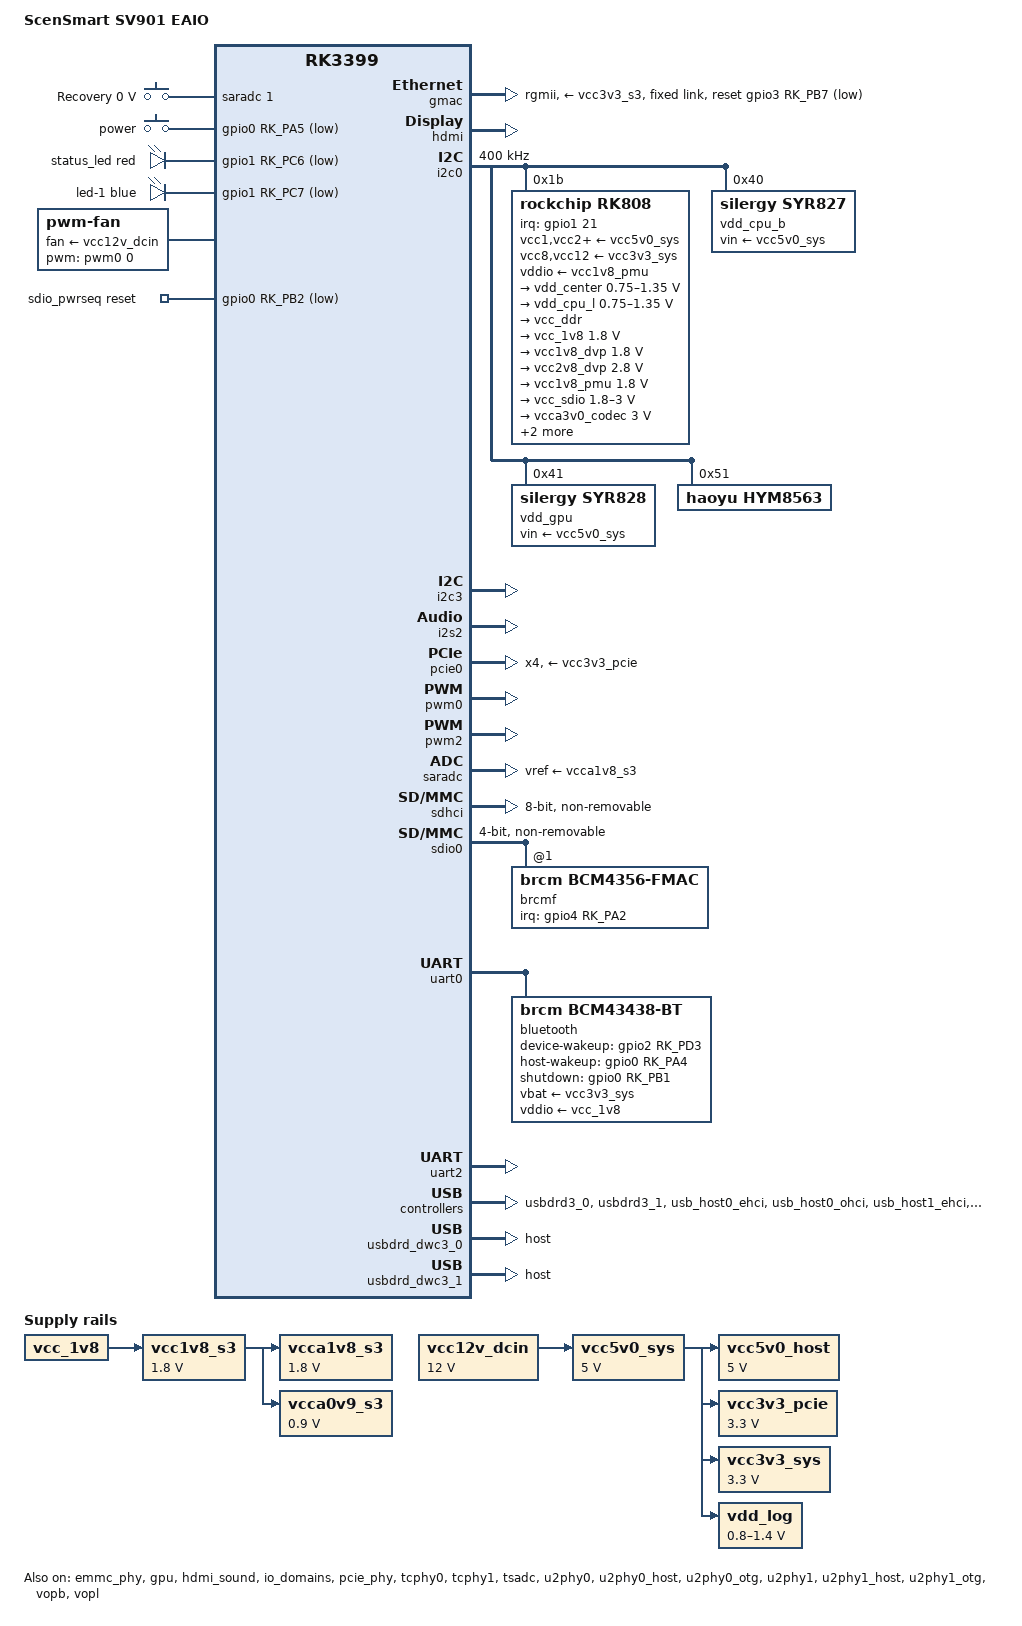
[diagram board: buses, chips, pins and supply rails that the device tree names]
// SPDX-License-Identifier: GPL-2.0-or-later OR MIT

/dts-v1/;
#include <dt-bindings/input/input.h>
#include <dt-bindings/leds/common.h>
#include "rk3399.dtsi"
#include "rk3399-opp.dtsi"

/ {
	model = "ScenSmart SV901 EAIO";
	compatible = "scensmart,sv901-eaio", "rockchip,rk3399";

	aliases {
		mmc0 = &sdhci;
		mmc1 = &sdio0;

		led-boot = &status_led;
		led-failsafe = &status_led;
		led-running = &status_led;
		led-upgrade = &status_led;
	};

	chosen {
		stdout-path = "serial2:1500000n8";
	};

	adc-keys {
		compatible = "adc-keys";
		io-channels = <&saradc 1>;
		io-channel-names = "buttons";
		keyup-threshold-microvolt = <1750000>;
		poll-interval = <100>;

		button-recovery {
			label = "Recovery";
			linux,code = <KEY_VENDOR>;
			press-threshold-microvolt = <0>;
		};
	};

	gpio-keys {
		compatible = "gpio-keys";
		pinctrl-names = "default";
		pinctrl-0 = <&power_button_pin>;

		button-power {
			label = "power";
			debounce-interval = <100>;
			gpios = <&gpio0 RK_PA5 GPIO_ACTIVE_LOW>;
			linux,code = <KEY_POWER>;
			wakeup-source;
		};
	};

	gpio-leds {
		compatible = "gpio-leds";
		pinctrl-names = "default";
		pinctrl-0 = <&status_led_pin>, <&custom_led_pin>;

		status_led: led-0 {
			color = <LED_COLOR_ID_RED>;
			function = LED_FUNCTION_STATUS;
			gpios = <&gpio1 RK_PC6 GPIO_ACTIVE_LOW>;
		};

		led-1 {
			color = <LED_COLOR_ID_BLUE>;
			function = LED_FUNCTION_PROGRAMMING;
			gpios = <&gpio1 RK_PC7 GPIO_ACTIVE_LOW>;
		};
	};

	fan: pwm-fan {
		compatible = "pwm-fan";
		#cooling-cells = <2>;
		cooling-levels = <0 95 145 195 255>;
		fan-supply = <&vcc12v_dcin>;
		pwms = <&pwm0 0 10000 0>;
		status = "okay";
	};

        rtl8367s {
                compatible = "realtek,rtl8367b";
                realtek,extif = <7 1 3 1 1 1 1 1 1 2>;
                mii-bus = <&mdio>;
                phy-id = <29>;
        };

	sdio_pwrseq: sdio-pwrseq {
		compatible = "mmc-pwrseq-simple";
		clocks = <&rk808 1>;
		clock-names = "ext_clock";
		pinctrl-names = "default";
		pinctrl-0 = <&wifi_reg_on_h>;
		reset-gpios = <&gpio0 RK_PB2 GPIO_ACTIVE_LOW>;
		post-power-on-delay-ms = <300>;
	};

	vcc12v_dcin: regulator-vcc12v-dcin {
		compatible = "regulator-fixed";
		regulator-name = "vcc12v-dcin";
		regulator-always-on;
		regulator-boot-on;
		regulator-min-microvolt = <12000000>;
		regulator-max-microvolt = <12000000>;
	};

	vcc5v0_sys: regulator-vcc5v0-sys {
		compatible = "regulator-fixed";
		regulator-always-on;
		regulator-boot-on;
		regulator-min-microvolt = <5000000>;
		regulator-max-microvolt = <5000000>;
		regulator-name = "vcc5v0_sys";
		vin-supply = <&vcc12v_dcin>;
	};

	vcc5v0_host: regulator-vcc5v0-host {
		compatible = "regulator-fixed";
		regulator-name = "vcc5v0_host";
		regulator-always-on;
		regulator-boot-on;
		regulator-min-microvolt = <5000000>;
		regulator-max-microvolt = <5000000>;
		vin-supply = <&vcc5v0_sys>;
	};

	vcc3v3_pcie: regulator-vcc3v3-pcie {
		compatible = "regulator-fixed";
		regulator-name = "vcc3v3_pcie";
		regulator-always-on;
		regulator-boot-on;
		regulator-min-microvolt = <3300000>;
		regulator-max-microvolt = <3300000>;
		vin-supply = <&vcc5v0_sys>;
	};

	vcc3v3_sys: regulator-vcc3v3-sys {
		compatible = "regulator-fixed";
		regulator-always-on;
		regulator-boot-on;
		regulator-min-microvolt = <3300000>;
		regulator-max-microvolt = <3300000>;
		regulator-name = "vcc3v3_sys";
		vin-supply = <&vcc5v0_sys>;
	};

	vcc1v8_s3: regulator-vcc1v8-s3 {
		compatible = "regulator-fixed";
		regulator-always-on;
		regulator-boot-on;
		regulator-min-microvolt = <1800000>;
		regulator-max-microvolt = <1800000>;
		regulator-name = "vcc1v8_s3";
		vin-supply = <&vcc_1v8>;
	};

	vcca1v8_s3: regulator-vcca1v8-s3 {
		compatible = "regulator-fixed";
		regulator-min-microvolt = <1800000>;
		regulator-max-microvolt = <1800000>;
		regulator-name = "vcca1v8_s3";
		vin-supply = <&vcc1v8_s3>;
	};

	vcca0v9_s3: regulator-vcca0v9-s3 {
		compatible = "regulator-fixed";
		regulator-min-microvolt = <900000>;
		regulator-max-microvolt = <900000>;
		regulator-name = "vcca0v9_s3";
		vin-supply = <&vcc1v8_s3>;
	};

	vdd_log: regulator-vdd-log {
		compatible = "pwm-regulator";
		pwms = <&pwm2 0 25000 1>;
		regulator-name = "vdd_log";
		regulator-always-on;
		regulator-boot-on;
		regulator-min-microvolt = <800000>;
		regulator-max-microvolt = <1400000>;
		vin-supply = <&vcc5v0_sys>;
	};
};

&cpu_thermal {
	trips {
		cpu_trip_active_low: cpu-trip-active-low {
			temperature = <50000>;
			hysteresis = <2000>;
			type = "active";
		};

		cpu_trip_active_med: cpu-trip-active-med {
			temperature = <60000>;
			hysteresis = <2000>;
			type = "active";
		};

		cpu_trip_active_high: cpu-trip-active-high {
			temperature = <70000>;
			hysteresis = <2000>;
			type = "active";
		};

		cpu_trip_active_hot: cpu-trip-active-hot {
			temperature = <75000>;
			hysteresis = <2000>;
			type = "hot";
		};
	};

	cooling-maps {
		cpu-active-low {
			trip = <&cpu_trip_active_low>;
			cooling-device = <&fan THERMAL_NO_LIMIT 1>;
		};

		cpu-active-med {
			trip = <&cpu_trip_active_med>;
			cooling-device = <&fan 1 2>;
		};

		cpu-active-high {
			trip = <&cpu_trip_active_high>;
			cooling-device = <&fan 2 3>;
		};

		cpu-active-hot {
			trip = <&cpu_trip_active_hot>;
			cooling-device = <&fan 3 THERMAL_NO_LIMIT>;
		};
	};
};

&cpu_b0 {
	cpu-supply = <&vdd_cpu_b>;
};

&cpu_b1 {
	cpu-supply = <&vdd_cpu_b>;
};

&cpu_l0 {
	cpu-supply = <&vdd_cpu_l>;
};

&cpu_l1 {
	cpu-supply = <&vdd_cpu_l>;
};

&cpu_l2 {
	cpu-supply = <&vdd_cpu_l>;
};

&cpu_l3 {
	cpu-supply = <&vdd_cpu_l>;
};

&emmc_phy {
	status = "okay";
};

&gmac {
	assigned-clocks = <&cru SCLK_RMII_SRC>;
	assigned-clock-parents = <&cru SCLK_MAC>;
	assigned-clock-rates = <125000000>;
	clock_in_out = "output";
	phy-mode = "rgmii";
	phy-supply = <&vcc3v3_s3>;
	pinctrl-names = "default";
	pinctrl-0 = <&rgmii_pins>;
	snps,reset-gpio = <&gpio3 RK_PB7 GPIO_ACTIVE_LOW>;
	snps,reset-active-low;
	snps,reset-delays-us = <0 15000 50000>;
	tx_delay = <0x28>;
	rx_delay = <0x11>;
	status = "okay";

	mdio: mdio {
		compatible = "snps,dwmac-mdio";
		#address-cells = <1>;
		#size-cells = <0>;
	};

	fixed-link {
		speed = <1000>;
		full-duplex;
	};
};

&gpu {
	mali-supply = <&vdd_gpu>;
	status = "okay";
};

&hdmi {
	avdd-0v9-supply = <&vcca0v9_s3>;
	avdd-1v8-supply = <&vcca1v8_s3>;
	ddc-i2c-bus = <&i2c3>;
	pinctrl-names = "default";
	pinctrl-0 = <&hdmi_cec>;
	status = "okay";
};

&hdmi_sound {
	status = "okay";
};

&i2c0 {
	clock-frequency = <400000>;
	i2c-scl-rising-time-ns = <168>;
	i2c-scl-falling-time-ns = <4>;
	status = "okay";

	rk808: pmic@1b {
		compatible = "rockchip,rk808";
		reg = <0x1b>;
		#clock-cells = <1>;
		clock-output-names = "xin32k", "rk808-clkout2";
		interrupt-parent = <&gpio1>;
		interrupts = <21 IRQ_TYPE_LEVEL_LOW>;
		pinctrl-names = "default";
		pinctrl-0 = <&pmic_int_l>;
		system-power-controller;
		wakeup-source;

		vcc1-supply = <&vcc5v0_sys>;
		vcc2-supply = <&vcc5v0_sys>;
		vcc3-supply = <&vcc5v0_sys>;
		vcc4-supply = <&vcc5v0_sys>;
		vcc6-supply = <&vcc5v0_sys>;
		vcc7-supply = <&vcc5v0_sys>;
		vcc8-supply = <&vcc3v3_sys>;
		vcc9-supply = <&vcc5v0_sys>;
		vcc10-supply = <&vcc5v0_sys>;
		vcc11-supply = <&vcc5v0_sys>;
		vcc12-supply = <&vcc3v3_sys>;
		vddio-supply = <&vcc1v8_pmu>;

		regulators {
			vdd_center: DCDC_REG1 {
				regulator-always-on;
				regulator-boot-on;
				regulator-min-microvolt = <750000>;
				regulator-max-microvolt = <1350000>;
				regulator-name = "vdd_center";
				regulator-ramp-delay = <6001>;

				regulator-state-mem {
					regulator-off-in-suspend;
				};
			};

			vdd_cpu_l: DCDC_REG2 {
				regulator-always-on;
				regulator-boot-on;
				regulator-min-microvolt = <750000>;
				regulator-max-microvolt = <1350000>;
				regulator-name = "vdd_cpu_l";
				regulator-ramp-delay = <6001>;

				regulator-state-mem {
					regulator-off-in-suspend;
				};
			};

			vcc_ddr: DCDC_REG3 {
				regulator-always-on;
				regulator-boot-on;
				regulator-name = "vcc_ddr";

				regulator-state-mem {
					regulator-on-in-suspend;
				};
			};

			vcc_1v8: DCDC_REG4 {
				regulator-always-on;
				regulator-boot-on;
				regulator-min-microvolt = <1800000>;
				regulator-max-microvolt = <1800000>;
				regulator-name = "vcc_1v8";

				regulator-state-mem {
					regulator-on-in-suspend;
					regulator-suspend-microvolt = <1800000>;
				};
			};

			vcc1v8_dvp: LDO_REG1 {
				regulator-always-on;
				regulator-boot-on;
				regulator-min-microvolt = <1800000>;
				regulator-max-microvolt = <1800000>;
				regulator-name = "vcc1v8_dvp";

				regulator-state-mem {
					regulator-off-in-suspend;
				};
			};

			vcc2v8_dvp: LDO_REG2 {
				regulator-always-on;
				regulator-boot-on;
				regulator-min-microvolt = <2800000>;
				regulator-max-microvolt = <2800000>;
				regulator-name = "vcc2v8_dvp";

				regulator-state-mem {
					regulator-off-in-suspend;
				};
			};

			vcc1v8_pmu: LDO_REG3 {
				regulator-always-on;
				regulator-boot-on;
				regulator-min-microvolt = <1800000>;
				regulator-max-microvolt = <1800000>;
				regulator-name = "vcc1v8_pmu";

				regulator-state-mem {
					regulator-on-in-suspend;
					regulator-suspend-microvolt = <1800000>;
				};
			};

			vcc_sdio: LDO_REG4 {
				regulator-always-on;
				regulator-boot-on;
				regulator-min-microvolt = <1800000>;
				regulator-max-microvolt = <3000000>;
				regulator-name = "vcc_sdio";

				regulator-state-mem {
					regulator-on-in-suspend;
					regulator-suspend-microvolt = <3000000>;
				};
			};

			vcca3v0_codec: LDO_REG5 {
				regulator-always-on;
				regulator-boot-on;
				regulator-min-microvolt = <3000000>;
				regulator-max-microvolt = <3000000>;
				regulator-name = "vcca3v0_codec";

				regulator-state-mem {
					regulator-off-in-suspend;
				};
			};

			vcc_1v5: LDO_REG6 {
				regulator-always-on;
				regulator-boot-on;
				regulator-min-microvolt = <1500000>;
				regulator-max-microvolt = <1500000>;
				regulator-name = "vcc_1v5";

				regulator-state-mem {
					regulator-on-in-suspend;
					regulator-suspend-microvolt = <1500000>;
				};
			};

			vcca1v8_codec: LDO_REG7 {
				regulator-always-on;
				regulator-boot-on;
				regulator-min-microvolt = <1800000>;
				regulator-max-microvolt = <1800000>;
				regulator-name = "vcca1v8_codec";

				regulator-state-mem {
					regulator-off-in-suspend;
				};
			};

			vcc_3v0: LDO_REG8 {
				regulator-always-on;
				regulator-boot-on;
				regulator-min-microvolt = <3000000>;
				regulator-max-microvolt = <3000000>;
				regulator-name = "vcc_3v0";

				regulator-state-mem {
					regulator-on-in-suspend;
					regulator-suspend-microvolt = <3000000>;
				};
			};

			vcc3v3_s3: SWITCH_REG1 {
				regulator-always-on;
				regulator-boot-on;
				regulator-name = "vcc3v3_s3";

				regulator-state-mem {
					regulator-off-in-suspend;
				};
			};

			vcc3v3_s0: SWITCH_REG2 {
				regulator-always-on;
				regulator-boot-on;
				regulator-name = "vcc3v3_s0";

				regulator-state-mem {
					regulator-off-in-suspend;
				};
			};
		};
	};

	vdd_cpu_b: regulator@40 {
		compatible = "silergy,syr827";
		reg = <0x40>;
		fcs,suspend-voltage-selector = <1>;
		pinctrl-names = "default";
		pinctrl-0 = <&cpu_b_sleep>;
		regulator-always-on;
		regulator-boot-on;
		regulator-min-microvolt = <712500>;
		regulator-max-microvolt = <1500000>;
		regulator-name = "vdd_cpu_b";
		regulator-ramp-delay = <1000>;
		vin-supply = <&vcc5v0_sys>;

		regulator-state-mem {
			regulator-off-in-suspend;
		};
	};

	vdd_gpu: regulator@41 {
		compatible = "silergy,syr828";
		reg = <0x41>;
		fcs,suspend-voltage-selector = <1>;
		pinctrl-names = "default";
		pinctrl-0 = <&gpu_sleep>;
		regulator-always-on;
		regulator-boot-on;
		regulator-min-microvolt = <712500>;
		regulator-max-microvolt = <1500000>;
		regulator-name = "vdd_gpu";
		regulator-ramp-delay = <1000>;
		vin-supply = <&vcc5v0_sys>;

		regulator-state-mem {
			regulator-off-in-suspend;
		};
	};

	hym8563: rtc@51 {
		compatible = "haoyu,hym8563";
		reg = <0x51>;
		#clock-cells = <0>;
		clock-output-names = "rtcic_32kout";
		wakeup-source;
	};
};

&i2c3 {
	i2c-scl-rising-time-ns = <450>;
	i2c-scl-falling-time-ns = <15>;
	status = "okay";
};

&i2s2 {
	status = "okay";
};

&io_domains {
	bt656-supply = <&vcc1v8_dvp>;
	audio-supply = <&vcca1v8_codec>;
	sdmmc-supply = <&vcc_sdio>;
	gpio1830-supply = <&vcc_3v0>;
	status = "okay";
};

&pcie_phy {
	assigned-clock-parents = <&cru SCLK_PCIEPHY_REF100M>;
	assigned-clock-rates = <100000000>;
	assigned-clocks = <&cru SCLK_PCIEPHY_REF>;
	status = "okay";
};

&pcie0 {
	ep-gpios = <&gpio4 RK_PD1 GPIO_ACTIVE_HIGH>;
	num-lanes = <4>;
	pinctrl-names = "default";
	pinctrl-0 = <&pcie_clkreqn_cpm>;
	status = "okay";
	vpcie3v3-supply = <&vcc3v3_pcie>;
};

&pinctrl {
	bluetooth {
		bt_host_wake_l: bt-host-wake-l {
			rockchip,pins = <0 RK_PA4 RK_FUNC_GPIO &pcfg_pull_none>;
		};

		bt_reg_on_h: bt-reg-on-h {
			rockchip,pins = <0 RK_PB1 RK_FUNC_GPIO &pcfg_pull_none>;
		};

		bt_wake_l: bt-wake-l {
			rockchip,pins = <2 RK_PD2 RK_FUNC_GPIO &pcfg_pull_none>;
		};
	};

	gmac {
		eth_phy_reset_pin: eth-phy-reset-pin {
			rockchip,pins = <3 RK_PB7 RK_FUNC_GPIO &pcfg_pull_up>;
		};
	};

	gpio-leds {
		status_led_pin: status-led-pin {
			rockchip,pins = <1 RK_PC6 RK_FUNC_GPIO &pcfg_pull_none>;
		};

		custom_led_pin: custom-led-pin {
			rockchip,pins = <1 RK_PC7 RK_FUNC_GPIO &pcfg_pull_none>;
		};
	};

	pmic {
		cpu_b_sleep: cpu-b-sleep {
			rockchip,pins = <1 RK_PC2 RK_FUNC_GPIO &pcfg_pull_down>;
		};

		gpu_sleep: gpu-sleep {
			rockchip,pins = <1 RK_PB6 RK_FUNC_GPIO &pcfg_pull_down>;
		};

		pmic_int_l: pmic-int-l {
			rockchip,pins = <1 RK_PC5 RK_FUNC_GPIO &pcfg_pull_up>;
		};
	};

	rockchip-key {
		power_button_pin: power-button-pin {
			rockchip,pins = <0 RK_PA5 RK_FUNC_GPIO &pcfg_pull_up>;
		};
	};

	sdio-pwrseq {
		wifi_reg_on_h: wifi-reg_on-h {
			rockchip,pins = <0 RK_PB2 RK_FUNC_GPIO &pcfg_pull_none>;
		};
	};

	wifi {
		wifi_host_wake_l: wifi-host-wake-l {
			rockchip,pins = <0 RK_PA3 RK_FUNC_GPIO &pcfg_pull_none>;
		};
	};
};

&pmu_io_domains {
	pmu1830-supply = <&vcc_3v0>;
	status = "okay";
};

&pwm0 {
	status = "okay";
};

&pwm2 {
	status = "okay";
};

&saradc {
	vref-supply = <&vcca1v8_s3>;
	status = "okay";
};

&sdhci {
	bus-width = <8>;
	mmc-hs400-1_8v;
	mmc-hs400-enhanced-strobe;
	non-removable;
	status = "okay";
};

&sdio0 {
	bus-width = <4>;
	cap-sd-highspeed;
	cap-sdio-irq;
	keep-power-in-suspend;
	non-removable;
	sd-uhs-sdr104;
	supports-sdio;
	mmc-pwrseq = <&sdio_pwrseq>;
	pinctrl-names = "default";
	pinctrl-0 = <&sdio0_bus4 &sdio0_cmd &sdio0_clk>;
	#address-cells = <1>;
	#size-cells = <0>;
	status = "okay";

	brcmf: wifi@1 {
		compatible = "brcm,bcm4356-fmac", "brcm,bcm4329-fmac";
		reg = <1>;
		interrupt-parent = <&gpio4>;
		interrupts = <RK_PA2 IRQ_TYPE_LEVEL_HIGH>;
		interrupt-names = "host-wake";
		pinctrl-names = "default";
		pinctrl-0 = <&wifi_host_wake_l>;
	};
};

&tcphy0 {
	status = "okay";
};

&tcphy1 {
	status = "okay";
};

&tsadc {
	rockchip,hw-tshut-mode = <1>;
	rockchip,hw-tshut-polarity = <1>;
	status = "okay";
};

&u2phy0 {
	status = "okay";
};

&u2phy0_host {
	phy-supply = <&vcc5v0_host>;
	status = "okay";
};

&u2phy0_otg {
	status = "okay";
};

&u2phy1 {
	status = "okay";
};

&u2phy1_host {
	phy-supply = <&vcc5v0_host>;
	status = "okay";
};

&u2phy1_otg {
	status = "okay";
};

&uart0 {
	pinctrl-names = "default";
	pinctrl-0 = <&uart0_xfer &uart0_rts &uart0_cts>;
	status = "okay";

	bluetooth {
		compatible = "brcm,bcm43438-bt";
		clocks = <&rk808 1>;
		clock-names = "lpo";
		device-wakeup-gpios = <&gpio2 RK_PD3 GPIO_ACTIVE_HIGH>;
		host-wakeup-gpios = <&gpio0 RK_PA4 GPIO_ACTIVE_HIGH>;
		shutdown-gpios = <&gpio0 RK_PB1 GPIO_ACTIVE_HIGH>;
		pinctrl-names = "default";
		pinctrl-0 = <&bt_host_wake_l &bt_wake_l &bt_reg_on_h>;
		vbat-supply = <&vcc3v3_sys>;
		vddio-supply = <&vcc_1v8>;
	};
};

&uart2 {
	status = "okay";
};

&usbdrd3_0 {
	status = "okay";
};

&usbdrd3_1 {
	status = "okay";
};

&usbdrd_dwc3_0 {
	dr_mode = "host";
	status = "okay";
};

&usbdrd_dwc3_1 {
	dr_mode = "host";
	status = "okay";
};

&usb_host0_ehci {
	status = "okay";
};

&usb_host0_ohci {
	status = "okay";
};

&usb_host1_ehci {
	status = "okay";
};

&usb_host1_ohci {
	status = "okay";
};

&vopb {
	status = "okay";
};

&vopb_mmu {
	status = "okay";
};

&vopl {
	status = "okay";
};

&vopl_mmu {
	status = "okay";
};
